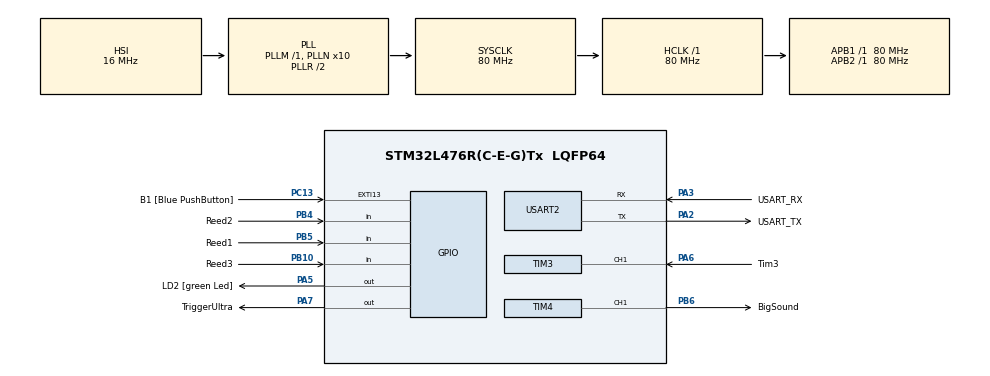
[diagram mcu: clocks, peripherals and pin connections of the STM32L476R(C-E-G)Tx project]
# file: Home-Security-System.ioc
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Dma.Request0=USART2_RX
Dma.USART2_RX.0.Direction=DMA_PERIPH_TO_MEMORY
Dma.USART2_RX.0.Instance=DMA1_Channel6
Dma.USART2_RX.0.MemDataAlignment=DMA_MDATAALIGN_BYTE
Dma.USART2_RX.0.MemInc=DMA_MINC_ENABLE
Dma.USART2_RX.0.Mode=DMA_NORMAL
Dma.USART2_RX.0.PeriphDataAlignment=DMA_PDATAALIGN_BYTE
Dma.USART2_RX.0.PeriphInc=DMA_PINC_DISABLE
Dma.USART2_RX.0.Priority=DMA_PRIORITY_LOW
Mcu.Family=STM32L4
Mcu.Name=STM32L476R(C-E-G)Tx
Mcu.Package=LQFP64
NVIC.DMA1_Channel6_IRQn=true\:0\:0\:false\:false\:true\:false\:true\:true
NVIC.PriorityGroup=NVIC_PRIORITYGROUP_4
NVIC.TIM3_IRQn=true\:0\:0\:false\:false\:true\:true\:true\:true
PA13\ (JTMS-SWDIO).GPIO_Label=TMS
PA13\ (JTMS-SWDIO).Mode=Serial_Wire
PA13\ (JTMS-SWDIO).Signal=SYS_JTMS-SWDIO
PA14\ (JTCK-SWCLK).GPIO_Label=TCK
PA14\ (JTCK-SWCLK).Mode=Serial_Wire
PA14\ (JTCK-SWCLK).Signal=SYS_JTCK-SWCLK
PA2.GPIO_Label=USART_TX
PA2.GPIO_Mode=GPIO_MODE_AF_PP
PA2.GPIO_PuPd=GPIO_NOPULL
PA2.GPIO_Speed=GPIO_SPEED_FREQ_VERY_HIGH
PA2.Mode=Asynchronous
PA2.Signal=USART2_TX
PA3.GPIO_Label=USART_RX
PA3.GPIO_Mode=GPIO_MODE_AF_PP
PA3.GPIO_PuPd=GPIO_NOPULL
PA3.GPIO_Speed=GPIO_SPEED_FREQ_VERY_HIGH
PA3.Mode=Asynchronous
PA3.Signal=USART2_RX
PA5.GPIO_Label=LD2 [green Led]
PA5.GPIO_ModeDefaultOutputPP=GPIO_MODE_OUTPUT_PP
PA5.GPIO_PuPd=GPIO_NOPULL
PA5.GPIO_Speed=GPIO_SPEED_FREQ_LOW
PA5.Signal=GPIO_Output
PA6.GPIO_Label=Tim3
PA6.Signal=S_TIM3_CH1
PA7.GPIO_Label=TriggerUltra
PA7.Signal=GPIO_Output
PB10.GPIO_Label=Reed3
PB10.GPIO_PuPd=GPIO_PULLDOWN
PB10.Signal=GPIO_Input
PB3\ (JTDO-TRACESWO).GPIO_Label=SWO
PB3\ (JTDO-TRACESWO).Signal=SYS_JTDO-SWO
PB4\ (NJTRST).GPIO_Label=Reed2
PB4\ (NJTRST).GPIO_PuPd=GPIO_PULLDOWN
PB4\ (NJTRST).Signal=GPIO_Input
PB5.GPIO_Label=Reed1
PB5.GPIO_PuPd=GPIO_PULLDOWN
PB5.Signal=GPIO_Input
PB6.GPIO_Label=BigSound
PB6.Signal=S_TIM4_CH1
PC13.GPIO_Label=B1 [Blue PushButton]
PC13.GPIO_ModeDefaultEXTI=GPIO_MODE_IT_FALLING
PC13.GPIO_PuPd=GPIO_NOPULL
PC13.Signal=GPXTI13
PC14-OSC32_IN\ (PC14).Mode=LSE-External-Oscillator
PC14-OSC32_IN\ (PC14).Signal=RCC_OSC32_IN
PC15-OSC32_OUT\ (PC15).Mode=LSE-External-Oscillator
PC15-OSC32_OUT\ (PC15).Signal=RCC_OSC32_OUT
PH0-OSC_IN\ (PH0).Signal=RCC_OSC_IN
PH1-OSC_OUT\ (PH1).Signal=RCC_OSC_OUT
ProjectManager.HeapSize=0x200
ProjectManager.StackSize=0x400
ProjectManager.TargetToolchain=STM32CubeIDE
RCC.ADCFreq_Value=64000000
RCC.AHBFreq_Value=80000000
RCC.APB1Freq_Value=80000000
RCC.APB1TimFreq_Value=80000000
RCC.APB2Freq_Value=80000000
RCC.APB2TimFreq_Value=80000000
RCC.CortexFreq_Value=80000000
RCC.HCLKFreq_Value=80000000
RCC.HSE_VALUE=8000000
RCC.HSI_VALUE=16000000
RCC.MSI_VALUE=4000000
RCC.PLLN=10
RCC.PLLSourceVirtual=RCC_PLLSOURCE_HSI
RCC.PREFETCH_ENABLE=1
RCC.SYSCLKFreq_VALUE=80000000
RCC.SYSCLKSource=RCC_SYSCLKSOURCE_PLLCLK
RCC.USBFreq_Value=64000000
RCC.VCOOutputFreq_Value=160000000
SH.S_TIM3_CH1.0=TIM3_CH1,Input_Capture1_from_TI1
SH.S_TIM4_CH1.0=TIM4_CH1,PWM Generation1 CH1
TIM3.Channel-Input_Capture1_from_TI1=TIM_CHANNEL_1
TIM3.Prescaler=79
TIM4.Channel-Output\ Compare1\ No\ Output=TIM_CHANNEL_1
TIM4.Channel-PWM\ Generation1\ CH1=TIM_CHANNEL_1
TIM4.Period=499
TIM4.Prescaler=79
USART2.VirtualMode-Asynchronous=VM_ASYNC
VP_TIM3_VS_ClockSourceINT.Mode=Internal
board=NUCLEO-L476RG

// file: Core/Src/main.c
/* USER CODE BEGIN Header */
/**
  ******************************************************************************
  * @file           : main.c
  * @brief          : Main program body
  ******************************************************************************
  * @attention
  * DolphinBoi was here ;)
  * Copyright (c) 2025 STMicroelectronics.
  * All rights reserved.
  *
  * This software is licensed under terms that can be found in the LICENSE file
  * in the root directory of this software component.
  * If no LICENSE file comes with this software, it is provided AS-IS.
  *
  ******************************************************************************
  */
/* USER CODE END Header */
#include "main.h"

/* USER CODE BEGIN Includes */
#include <stdio.h>
#include <string.h>
#include <stdbool.h>
/* USER CODE END Includes */

TIM_HandleTypeDef htim3;
TIM_HandleTypeDef htim4;

UART_HandleTypeDef huart2;
DMA_HandleTypeDef hdma_usart2_rx;

/* USER CODE BEGIN PV */
// Reed switch state variables (1 = closed, 0 = open)
int reed1_closed = 0;
int reed2_closed = 0;
int reed3_closed = 0;
//int reed4_closed = 0;

// Global RX buffer
uint8_t rx_byte;

// Ultrasonic distance (cm)
volatile float distance_cm = 0;

// Input capture variables
volatile uint32_t ic_val1 = 0;
volatile uint32_t ic_val2 = 0;
volatile uint8_t is_first_captured = 0;
volatile uint8_t alarm_force = 0;      // Set via UART: 1 = force ON, 0 = sensors control
float distance_threshold_cm = 10.0f;   // Object closer than this => alarm
uint32_t last_alarm_on_ms = 3000;         // For optional hold time
uint32_t alarm_auto_hold_ms = 3000;    // Keep ON for 3s after trigger (optional)

/* USER CODE END PV */

void SystemClock_Config(void);
static void MX_GPIO_Init(void);
static void MX_DMA_Init(void);
static void MX_USART2_UART_Init(void);
static void MX_TIM3_Init(void);
static void MX_TIM4_Init(void);
/* USER CODE BEGIN PFP */
void UpdateReedSwitchStates(void);
void HCSR04_Trigger(void);
void SendStatusUART(void);

static void Alarm_Set(uint8_t on);
static bool IsAnyReedOpen(void);
static void ProcessAlarm(void);
/* USER CODE END PFP */

int main(void)
{

  /* MCU Configuration--------------------------------------------------------*/

  /* Reset of all peripherals, Initializes the Flash interface and the Systick. */
  HAL_Init();

  /* Configure the system clock */
  SystemClock_Config();

  /* Initialize all configured peripherals */
  MX_GPIO_Init();
  MX_DMA_Init();
  MX_USART2_UART_Init();
  MX_TIM3_Init();
  MX_TIM4_Init();
  /* USER CODE BEGIN 2 */

  HAL_TIM_IC_Start_IT(&htim3, TIM_CHANNEL_1);  // Start Input Capture with interrupts
  // Start UART RX (non-DMA, interrupt-based) to read single commands
  HAL_UART_Receive_IT(&huart2, &rx_byte, 1);
  // OPTIONAL: banner so you see something in PuTTY after reset
  const char *banner = "Home-Security-System: UART online @ 115200 8-N-1\r\n";
  HAL_UART_Transmit(&huart2, (uint8_t*)banner, (uint16_t)strlen(banner), 100);

  /* USER CODE END 2 */

  /* Infinite loop */
  while (1)
  {

    /* USER CODE BEGIN 3 */
	    // Update reed switches
	    UpdateReedSwitchStates();

	    // Trigger ultrasonic ping (echo measured in TIM3 IC callback)
	    HCSR04_Trigger();

	    // Give time for the echo to arrive and the callback to compute distance_cm.
	    // 60 ms covers up to ~10 m round-trip; adjust if you expect longer distances.
	    HAL_Delay(60);

	    // Decide and drive BigSound based on sensor states and UART command
	    ProcessAlarm();

	    // Transmit one status line over UART
	    SendStatusUART();

	    // Send at ~4 Hz; adjust as needed
	    HAL_Delay(160);
  }
  /* USER CODE END 3 */
}

void SystemClock_Config(void)
{
  RCC_OscInitTypeDef RCC_OscInitStruct = {0};
  RCC_ClkInitTypeDef RCC_ClkInitStruct = {0};

  /** Configure the main internal regulator output voltage
  */
  if (HAL_PWREx_ControlVoltageScaling(PWR_REGULATOR_VOLTAGE_SCALE1) != HAL_OK)
  {
    Error_Handler();
  }

  /** Initializes the RCC Oscillators according to the specified parameters
  * in the RCC_OscInitTypeDef structure.
  */
  RCC_OscInitStruct.OscillatorType = RCC_OSCILLATORTYPE_HSI;
  RCC_OscInitStruct.HSIState = RCC_HSI_ON;
  RCC_OscInitStruct.HSICalibrationValue = RCC_HSICALIBRATION_DEFAULT;
  RCC_OscInitStruct.PLL.PLLState = RCC_PLL_ON;
  RCC_OscInitStruct.PLL.PLLSource = RCC_PLLSOURCE_HSI;
  RCC_OscInitStruct.PLL.PLLM = 1;
  RCC_OscInitStruct.PLL.PLLN = 10;
  RCC_OscInitStruct.PLL.PLLP = RCC_PLLP_DIV7;
  RCC_OscInitStruct.PLL.PLLQ = RCC_PLLQ_DIV2;
  RCC_OscInitStruct.PLL.PLLR = RCC_PLLR_DIV2;
  if (HAL_RCC_OscConfig(&RCC_OscInitStruct) != HAL_OK)
  {
    Error_Handler();
  }

  /** Initializes the CPU, AHB and APB buses clocks
  */
  RCC_ClkInitStruct.ClockType = RCC_CLOCKTYPE_HCLK|RCC_CLOCKTYPE_SYSCLK
                              |RCC_CLOCKTYPE_PCLK1|RCC_CLOCKTYPE_PCLK2;
  RCC_ClkInitStruct.SYSCLKSource = RCC_SYSCLKSOURCE_PLLCLK;
  RCC_ClkInitStruct.AHBCLKDivider = RCC_SYSCLK_DIV1;
  RCC_ClkInitStruct.APB1CLKDivider = RCC_HCLK_DIV1;
  RCC_ClkInitStruct.APB2CLKDivider = RCC_HCLK_DIV1;

  if (HAL_RCC_ClockConfig(&RCC_ClkInitStruct, FLASH_LATENCY_4) != HAL_OK)
  {
    Error_Handler();
  }
}

static void MX_TIM3_Init(void)
{

  TIM_ClockConfigTypeDef sClockSourceConfig = {0};
  TIM_MasterConfigTypeDef sMasterConfig = {0};
  TIM_IC_InitTypeDef sConfigIC = {0};

  htim3.Instance = TIM3;
  htim3.Init.Prescaler = 79;
  htim3.Init.CounterMode = TIM_COUNTERMODE_UP;
  htim3.Init.Period = 65535;
  htim3.Init.ClockDivision = TIM_CLOCKDIVISION_DIV1;
  htim3.Init.AutoReloadPreload = TIM_AUTORELOAD_PRELOAD_DISABLE;
  if (HAL_TIM_Base_Init(&htim3) != HAL_OK)
  {
    Error_Handler();
  }
  sClockSourceConfig.ClockSource = TIM_CLOCKSOURCE_INTERNAL;
  if (HAL_TIM_ConfigClockSource(&htim3, &sClockSourceConfig) != HAL_OK)
  {
    Error_Handler();
  }
  if (HAL_TIM_IC_Init(&htim3) != HAL_OK)
  {
    Error_Handler();
  }
  sMasterConfig.MasterOutputTrigger = TIM_TRGO_RESET;
  sMasterConfig.MasterSlaveMode = TIM_MASTERSLAVEMODE_DISABLE;
  if (HAL_TIMEx_MasterConfigSynchronization(&htim3, &sMasterConfig) != HAL_OK)
  {
    Error_Handler();
  }
  sConfigIC.ICPolarity = TIM_INPUTCHANNELPOLARITY_RISING;
  sConfigIC.ICSelection = TIM_ICSELECTION_DIRECTTI;
  sConfigIC.ICPrescaler = TIM_ICPSC_DIV1;
  sConfigIC.ICFilter = 0;
  if (HAL_TIM_IC_ConfigChannel(&htim3, &sConfigIC, TIM_CHANNEL_1) != HAL_OK)
  {
    Error_Handler();
  }

}

static void MX_TIM4_Init(void)
{

  TIM_MasterConfigTypeDef sMasterConfig = {0};
  TIM_OC_InitTypeDef sConfigOC = {0};

  htim4.Instance = TIM4;
  htim4.Init.Prescaler = 79;
  htim4.Init.CounterMode = TIM_COUNTERMODE_UP;
  htim4.Init.Period = 499;
  htim4.Init.ClockDivision = TIM_CLOCKDIVISION_DIV1;
  htim4.Init.AutoReloadPreload = TIM_AUTORELOAD_PRELOAD_DISABLE;
  if (HAL_TIM_PWM_Init(&htim4) != HAL_OK)
  {
    Error_Handler();
  }
  sMasterConfig.MasterOutputTrigger = TIM_TRGO_RESET;
  sMasterConfig.MasterSlaveMode = TIM_MASTERSLAVEMODE_DISABLE;
  if (HAL_TIMEx_MasterConfigSynchronization(&htim4, &sMasterConfig) != HAL_OK)
  {
    Error_Handler();
  }
  sConfigOC.OCMode = TIM_OCMODE_PWM1;
  sConfigOC.Pulse = 0;
  sConfigOC.OCPolarity = TIM_OCPOLARITY_HIGH;
  sConfigOC.OCFastMode = TIM_OCFAST_DISABLE;
  if (HAL_TIM_PWM_ConfigChannel(&htim4, &sConfigOC, TIM_CHANNEL_1) != HAL_OK)
  {
    Error_Handler();
  }
  HAL_TIM_MspPostInit(&htim4);

    HAL_TIM_PWM_Start(&htim4, TIM_CHANNEL_1);
}

static void MX_USART2_UART_Init(void)
{

  huart2.Instance = USART2;
  huart2.Init.BaudRate = 115200;
  huart2.Init.WordLength = UART_WORDLENGTH_8B;
  huart2.Init.StopBits = UART_STOPBITS_1;
  huart2.Init.Parity = UART_PARITY_NONE;
  huart2.Init.Mode = UART_MODE_TX_RX;
  huart2.Init.HwFlowCtl = UART_HWCONTROL_NONE;
  huart2.Init.OverSampling = UART_OVERSAMPLING_16;
  huart2.Init.OneBitSampling = UART_ONE_BIT_SAMPLE_DISABLE;
  huart2.AdvancedInit.AdvFeatureInit = UART_ADVFEATURE_NO_INIT;
  if (HAL_UART_Init(&huart2) != HAL_OK)
  {
    Error_Handler();
  }

}

static void MX_DMA_Init(void)
{

  /* DMA controller clock enable */
  __HAL_RCC_DMA1_CLK_ENABLE();

  /* DMA interrupt init */
  /* DMA1_Channel6_IRQn interrupt configuration */
  HAL_NVIC_SetPriority(DMA1_Channel6_IRQn, 0, 0);
  HAL_NVIC_EnableIRQ(DMA1_Channel6_IRQn);

}

static void MX_GPIO_Init(void)
{
  GPIO_InitTypeDef GPIO_InitStruct = {0};

  /* GPIO Ports Clock Enable */
  __HAL_RCC_GPIOC_CLK_ENABLE();
  __HAL_RCC_GPIOH_CLK_ENABLE();
  __HAL_RCC_GPIOA_CLK_ENABLE();
  __HAL_RCC_GPIOB_CLK_ENABLE();

  /*Configure GPIO pin Output Level */
  HAL_GPIO_WritePin(GPIOA, LD2_Pin|TriggerUltra_Pin, GPIO_PIN_RESET);

  /*Configure GPIO pin : B1_Pin */
  GPIO_InitStruct.Pin = B1_Pin;
  GPIO_InitStruct.Mode = GPIO_MODE_IT_FALLING;
  GPIO_InitStruct.Pull = GPIO_NOPULL;
  HAL_GPIO_Init(B1_GPIO_Port, &GPIO_InitStruct);

  /*Configure GPIO pins : LD2_Pin TriggerUltra_Pin */
  GPIO_InitStruct.Pin = LD2_Pin|TriggerUltra_Pin;
  GPIO_InitStruct.Mode = GPIO_MODE_OUTPUT_PP;
  GPIO_InitStruct.Pull = GPIO_NOPULL;
  GPIO_InitStruct.Speed = GPIO_SPEED_FREQ_LOW;
  HAL_GPIO_Init(GPIOA, &GPIO_InitStruct);

  /*Configure GPIO pins : Reed3_Pin Reed2_Pin Reed1_Pin */
  GPIO_InitStruct.Pin = Reed3_Pin|Reed2_Pin|Reed1_Pin;
  GPIO_InitStruct.Mode = GPIO_MODE_INPUT;
  GPIO_InitStruct.Pull = GPIO_PULLDOWN;
  HAL_GPIO_Init(GPIOB, &GPIO_InitStruct);

}

/* USER CODE BEGIN 4 */

// BigSound is active-high: SET = ON, RESET = OFF.
// If your hardware is active-low, invert the pin levels here.
static void Alarm_Set(uint8_t on)
{
    // Drive PWM duty instead of GPIO. When ON: ~50% duty; OFF: 0% duty.
    uint32_t arr = __HAL_TIM_GET_AUTORELOAD(&htim4);
    uint32_t half = (arr + 1U) / 2U;
    __HAL_TIM_SET_COMPARE(&htim4, TIM_CHANNEL_1, on ? half : 0U);
}
static bool IsAnyReedOpen(void)
{
  // Your code defines reedX_closed = 1 when GPIO is SET (closed), 0 when open.
  // Alarm if ANY reed is open.
  return (!reed1_closed) || (!reed2_closed) || (!reed3_closed);
}

static void ProcessAlarm(void)
{
  uint32_t now = HAL_GetTick();

  // Sensor-based trigger:
  // - any reed open
  // - object closer than threshold (ignore bogus 0 distance)
  bool sensor_trigger =
      IsAnyReedOpen() ||
      ((distance_cm > 0.0f) && (distance_cm <= distance_threshold_cm));

  // Final decision: sensors OR forced-on via UART
  bool alarm_on = sensor_trigger || (alarm_force != 0);

  if (alarm_on)
  {
    Alarm_Set(1);
    last_alarm_on_ms = now; // remember when it turned on
  }
  else
  {
    // Optional "hold" so the alarm stays on briefly after the trigger clears
    if (alarm_auto_hold_ms == 0 || (now - last_alarm_on_ms) >= alarm_auto_hold_ms)
    {
      Alarm_Set(0);
    }
  }
}

// UART receive: simple command parser
void HAL_UART_RxCpltCallback(UART_HandleTypeDef *huart)
{
  if (huart->Instance == USART2)
  {
    switch (rx_byte)
    {
      case 'A': case 'a':   // Force alarm ON
      case '1': case '!':
        alarm_force = 1;
        break;

      case 'C': case 'c':   // Clear forced alarm (back to sensor-driven)
      case '0': case '.':
        alarm_force = 0;
        break;

      // Optional: change threshold on the fly (examples)
      case '+':  // increase threshold by 5 cm
        distance_threshold_cm += 5.0f;
        break;
      case '-':  // decrease threshold by 5 cm (min 5 cm)
        if (distance_threshold_cm > 5.0f) distance_threshold_cm -= 5.0f;
        break;

      default:
        break;
    }

    // Re-arm RX for next byte
    HAL_UART_Receive_IT(&huart2, &rx_byte, 1);
  }
}
static inline char oc(int closed) { return closed ? 'C' : 'O'; } // C=Closed, O=Open

void SendStatusUART(void)
{
  char tx_buf[128];

  // Compose: which reed is open/closed + current distance (cm)
  // Example: "R1:C R2:O R3:O R4:C | Dist: 23.5 cm\r\n"
  int n = snprintf(tx_buf, sizeof(tx_buf), "R1:%c R2:%c R3:%c | Dist: %.1f cm\r\n", oc(reed1_closed), oc(reed2_closed), oc(reed3_closed), distance_cm);
  if (n > 0)
  {
    HAL_UART_Transmit(&huart2, (uint8_t*)tx_buf, (uint16_t)n, 50); // blocking TX
  }
}

void HCSR04_Trigger(void)
{
    HAL_GPIO_WritePin(TriggerUltra_GPIO_Port, TriggerUltra_Pin, GPIO_PIN_SET);

    // ~10 µs delay
    for (volatile int i = 0; i < 100; i++)
        __NOP();

    HAL_GPIO_WritePin(TriggerUltra_GPIO_Port, TriggerUltra_Pin, GPIO_PIN_RESET);
}

void HAL_TIM_IC_CaptureCallback(TIM_HandleTypeDef *htim)
{
    if (htim->Instance == TIM3 && htim->Channel == HAL_TIM_ACTIVE_CHANNEL_1)
    {
        if (is_first_captured == 0)
        {
            ic_val1 = HAL_TIM_ReadCapturedValue(htim, TIM_CHANNEL_1);
            is_first_captured = 1;
            __HAL_TIM_SET_CAPTUREPOLARITY(htim, TIM_CHANNEL_1, TIM_INPUTCHANNELPOLARITY_FALLING);
        }
        else
        {
            ic_val2 = HAL_TIM_ReadCapturedValue(htim, TIM_CHANNEL_1);

            uint32_t diff;
            if (ic_val2 >= ic_val1)
                diff = ic_val2 - ic_val1;
            else
                diff = (htim->Instance->ARR - ic_val1) + ic_val2 + 1;

            distance_cm = (float)diff * 0.0343f / 2.0f;

            is_first_captured = 0;
            __HAL_TIM_SET_CAPTUREPOLARITY(htim, TIM_CHANNEL_1, TIM_INPUTCHANNELPOLARITY_RISING);
        }
    }
}

void UpdateReedSwitchStates(void)
{
    reed1_closed = (HAL_GPIO_ReadPin(Reed1_GPIO_Port, Reed1_Pin) == GPIO_PIN_SET) ? 1 : 0;
    reed2_closed = (HAL_GPIO_ReadPin(Reed2_GPIO_Port, Reed2_Pin) == GPIO_PIN_SET) ? 1 : 0;
    reed3_closed = (HAL_GPIO_ReadPin(Reed3_GPIO_Port, Reed3_Pin) == GPIO_PIN_SET) ? 1 : 0;
    reed4_closed = (HAL_GPIO_ReadPin(Reed4_GPIO_Port, Reed4_Pin) == GPIO_PIN_SET) ? 1 : 0;
}

static void BigSound_SelfTest_GPIO(void)
{
  // Fall-back self-test: drive PB6 (BigSound) as plain GPIO to generate a 500 Hz square wave for ~2 s.
  // This helps verify wiring even if TIM4 PWM were misconfigured.
  HAL_TIM_PWM_Stop(&htim4, TIM_CHANNEL_1);
  GPIO_InitTypeDef GPIO_InitStruct = {0};
  GPIO_InitStruct.Pin = BigSound_Pin;
  GPIO_InitStruct.Mode = GPIO_MODE_OUTPUT_PP;
  GPIO_InitStruct.Pull = GPIO_NOPULL;
  GPIO_InitStruct.Speed = GPIO_SPEED_FREQ_HIGH;
  HAL_GPIO_Init(BigSound_GPIO_Port, &GPIO_InitStruct);
  for (int i = 0; i < 2000; ++i) {
    HAL_GPIO_TogglePin(BigSound_GPIO_Port, BigSound_Pin);
    HAL_Delay(1); // toggle every 1 ms -> ~500 Hz tone
  }
  // Restore PB6 to TIM4_CH1 AF so normal Alarm_Set() PWM works
  HAL_TIM_MspPostInit(&htim4);
}

/* USER CODE END 4 */

void Error_Handler(void)
{
  __disable_irq();
  while (1)
  {
  }
}
